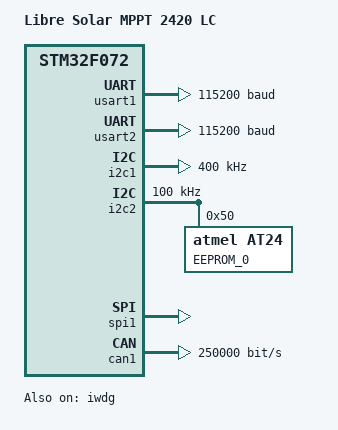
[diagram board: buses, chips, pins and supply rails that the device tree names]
/*
 * SPDX-License-Identifier: Apache-2.0
 *
 * Copyright (c) 2020 Martin Jäger / Libre Solar
 */

/dts-v1/;
#include <st/f0/stm32f072Xb.dtsi>

/ {
	model = "Libre Solar MPPT 2420 LC";
	compatible = "st,stm32f072";

	pcb {
		compatible = "charge-controller";

		type = "MPPT 2420 LC";
		version-str = "v0.10";
		version-num = <10>;

		hs-voltage-max = <55>;
		ls-voltage-max = <32>;
	};

	dcdc {
		compatible = "dcdc";
		timer = <&timers1>;
		pwm-frequency = <70000>;
		pwm-deadtime = <300>;
		current-max = <20>;
	};

	chosen {
		zephyr,console = &usart1;
		zephyr,shell-uart = &usart1;
		zephyr,sram = &sram0;
		zephyr,flash = &flash0;
	};

	leds {
		compatible = "charlieplexing-leds";
		gpios = <&gpiob 14 GPIO_ACTIVE_HIGH>,
			<&gpiob 15 GPIO_ACTIVE_HIGH>;

		pwr {
			states = <1 0>;
		};

		load {
			states = <0 1>;
		};
	};

	outputs {
		compatible = "outputs";

		load {
			label = "Load output";
			gpios = <&gpiob 2 GPIO_ACTIVE_LOW>;
			current-max = <20>;
			kconfig-flag;	/* make node visible in Kconfig */
		};

		uext_en {
			label = "UEXT enable";
			gpios = <&gpioc 14 GPIO_ACTIVE_LOW>;
		};

		can_en {
			label = "CAN disable / standby";
			gpios = <&gpioa 15 GPIO_ACTIVE_LOW>;
		};

		aux_en {
			label = "5V output enable";
			gpios = <&gpiob 12 GPIO_ACTIVE_HIGH>;
		};

		vbus_en {
			label = "CAN bus power supply enable";
			gpios = <&gpioc 15 GPIO_ACTIVE_LOW>;
		};
	};

	adc-inputs {
		compatible = "adc-inputs";

		temp-bat {
			io-channels = <&adc1 0>;
			multiplier = <10000>;	// 10k NTC series resistor
			divider = <1>;
		};

		temp-fets {
			io-channels = <&adc1 1>;
			multiplier = <10000>;	// 10k NTC series resistor
			divider = <1>;
		};

		vref {
			io-channels = <&adc1 5>;
			multiplier = <1>;
			divider = <1>;
		};

		v-low {
			io-channels = <&adc1 6>;
			multiplier = <110000>;
			divider = <10000>;
		};

		v-high {
			io-channels = <&adc1 7>;
			multiplier = <105600>;
			divider = <5600>;
		};

		i-load {
			io-channels = <&adc1 8>;
			// amp gain: 150/2.2, resistor: 2 mOhm
			multiplier = <2200>;	// 1000*2.2
			divider = <300>;	// 2*150
		};

		i-dcdc {
			io-channels = <&adc1 9>;
			// amp gain: 150/2.2, resistor: 2 mOhm
			multiplier = <2200>;	// 1000*2.2
			divider = <300>;	// 2*150
		};

		temp-mcu {
			io-channels = <&adc1 16>;
			multiplier = <1>;
			divider = <1>;
		};

		vref-mcu {
			io-channels = <&adc1 17>;
			multiplier = <1>;
			divider = <1>;
		};
	};

	aliases {
		uart-dbg = &usart1;
		uart-uext = &usart2;
		spi-uext = &spi1;
		i2c-uext = &i2c1;
	};
};

&usart1 {
	current-speed = <115200>;
	status = "okay";
};

&usart2 {
	current-speed = <115200>;
	status = "okay";
};

&i2c1 {
	status = "okay";
	clock-frequency = <I2C_BITRATE_FAST>;
};

&i2c2 {
	status = "okay";
	clock-frequency = <I2C_BITRATE_STANDARD>;
	eeprom@50 {
		// Microchip 24AA32A
		compatible = "atmel,at24";
		reg = <0x50>;
		label = "EEPROM_0";
		size = <32768>;
		pagesize = <32>;		// 24AA01: 8 bytes
		address-width = <16>;		// 24AA01: 8 bit
		/*
		 * timeout of 5 ms as suggested in datasheet seems too optimistic
		 * (several write errors occured during testing)
		 */
		timeout = <7>;
	};
};

&spi1 {
	cs-gpios = <&gpioc 13 GPIO_ACTIVE_LOW>;
	status = "okay";
};

&iwdg {
	status = "okay";
};

&can1 {
	bus-speed = <250000>;
	status = "okay";
};
